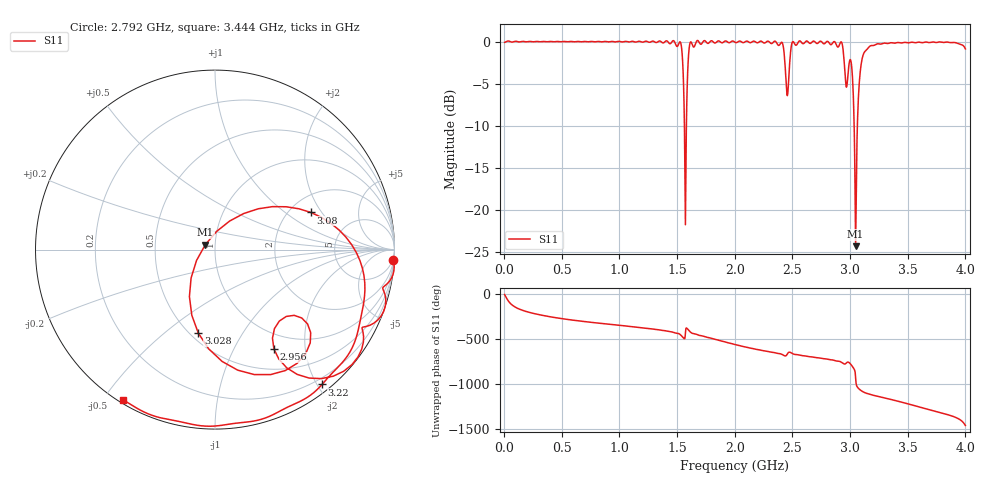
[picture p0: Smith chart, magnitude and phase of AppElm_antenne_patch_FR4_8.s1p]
! TOUCHSTONE file generated by CST MICROWAVE STUDIO
! Date and time: Tue Jun  7 21:11:36 2022
! Project name: AppElm_antenne_patch_FR4.cst
! Parameters = {L=45; W=58.5; e=0.035; h=1.6; lambda=0.190476; ls=120; w0=1.6; w1=0.533333; ws=132; y0=20; y1=23.81}
! Header version: 2018
! Port assignment regex: !\s*Touchstone port\s*([0-9]+)\s*=\s*(CST MWS port|CST DS port)\s*([0-9]+|Zmin|Zmax)\s*\(\"(.*)\"\)(\s*mode\s*([0-9]+))?.*
! Touchstone port assignment:
! Touchstone port 1 = CST MWS port 1 ("")
# GHz S MA R 50
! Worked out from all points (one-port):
!   1000 points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, 4 MHz to 4 GHz, reference 50 ohm
!   lowest |S11| = -24.4 dB at 3.048 GHz (marker M1), VSWR 1.13, Z = 44.8 + j2.45 ohm
!   |S11| at or under -10 dB: 1.563 GHz to 1.581 GHz (17.26 MHz wide, 1.1 % of centre); 3.035 GHz to 3.063 GHz (28.17 MHz wide, 0.924 % of centre)
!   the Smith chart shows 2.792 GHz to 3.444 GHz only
!   S11 on the Smith chart (normalised r, x): 2.792 GHz: 4, -34; 2.956 GHz: 0.78, -1.46; 3.028 GHz: 0.55, -0.66; 3.08 GHz: 2.58, +1.59; 3.22 GHz: 0.11, -2.07; 3.444 GHz: 0.01, -0.56
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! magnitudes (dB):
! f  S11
! 4 MHz  -0.1
! 504 MHz  0.0
! 1.004 GHz  0.0
! 1.504 GHz  -0.5
! 1.536 GHz  -0.5
! 1.556 GHz  -5.2
! 1.572 GHz  -21.8
! 1.588 GHz  -5.1
! 1.604 GHz  -0.8
! 1.62 GHz  0.0
! 2.004 GHz  -0.1
! 2.404 GHz  -0.1
! 2.456 GHz  -6.4
! 2.504 GHz  0.0
! 2.792 GHz  -0.1
! 2.92 GHz  0.0
! 2.956 GHz  -3.8
! 3.004 GHz  -2.2
! 3.016 GHz  -3.3
! 3.028 GHz  -6.5
! 3.048 GHz  -24.4
! 3.064 GHz  -9.6
! 3.08 GHz  -4.8
! 3.12 GHz  -1.4
! 3.22 GHz  -0.4
! 3.444 GHz  -0.2
! 3.504 GHz  -0.2
! 4 GHz  -0.9
